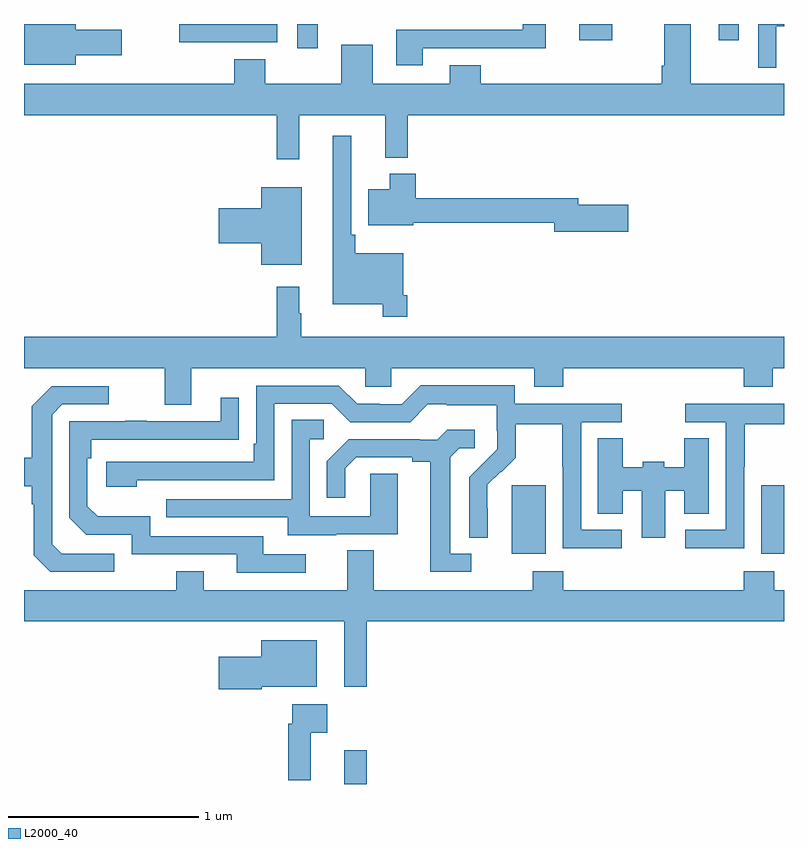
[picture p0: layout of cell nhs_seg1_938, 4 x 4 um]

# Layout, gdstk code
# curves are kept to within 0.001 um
import gdstk
lib = gdstk.Library(unit=1e-6, precision=1e-09)
def R(c, l, rs):  # rectangles x0, y0, x1, y1
    for r in rs: c.add(gdstk.rectangle(r[:2], r[2:], *l))
def P(c, l, *ps):  # polygons
    for p in ps: c.add(gdstk.Polygon(p, *l))
L2000_40 = (2000, 40)

nhs_seg1_938 = lib.new_cell('nhs_seg1_938')
R(nhs_seg1_938, L2000_40, [(162.686,560.199,162.803,560.377), (163.568,561.41,163.747,561.771), (164.879,561.41,165,561.771), (162.437,564.072,162.546,564.199), (161.817,564.102,162.333,564.199), (163.923,564.114,164.095,564.199), (164.657,564.114,164.761,564.199)])
P(nhs_seg1_938, L2000_40, [(164.958,564.186),(165,564.186),(165,564.199),(164.865,564.199),(164.865,563.969),(164.958,563.969)],
  [(163.099,564.072),(163.529,564.072),(163.529,564.071),(163.747,564.071),(163.747,564.199),(163.626,564.199),(163.626,564.168),(162.959,564.168),(162.959,563.982),(163.099,563.982)],
  [(161.272,564.035),(161.515,564.035),(161.515,564.17),(161.272,564.17),(161.272,564.199),(161,564.199),(161,563.984),(161.272,563.984)],
  [(162.449,563.72),(162.902,563.72),(162.902,563.495),(163.019,563.495),(163.019,563.72),(165,563.72),(165,563.884),(164.509,563.884),(164.509,564.199),(164.369,564.199),(164.369,563.98),(164.357,563.98),(164.357,563.884),(163.405,563.884),(163.405,563.983),(163.241,563.983),(163.241,563.884),(162.835,563.884),(162.835,564.091),(162.671,564.091),(162.671,563.884),(162.271,563.884),(162.271,564.013),(162.107,564.013),(162.107,563.884),(161,563.884),(161,563.72),(162.331,563.72),(162.331,563.487),(162.449,563.487)],
  [(163.016,562.771),(162.996,562.771),(162.996,562.993),(162.743,562.993),(162.743,563.089),(162.723,563.089),(162.723,563.611),(162.626,563.611),(162.626,562.724),(162.888,562.724),(162.888,562.659),(163.016,562.659)],
  [(164.179,563.247),(163.918,563.247),(163.918,563.281),(163.061,563.281),(163.061,563.41),(162.926,563.41),(162.926,563.329),(162.812,563.329),(162.812,563.141),(163.048,563.141),(163.048,563.152),(163.79,563.152),(163.79,563.105),(164.179,563.105)],
  [(162.463,563.341),(162.248,563.341),(162.248,563.228),(162.024,563.228),(162.024,563.045),(162.248,563.045),(162.248,562.931),(162.463,562.931)],
  [(161.881,562.388),(162.795,562.388),(162.795,562.29),(162.933,562.29),(162.933,562.388),(163.685,562.388),(163.685,562.289),(163.838,562.289),(163.838,562.388),(164.789,562.388),(164.789,562.289),(164.941,562.289),(164.941,562.388),(165,562.388),(165,562.552),(162.46,562.552),(162.46,562.676),(162.448,562.676),(162.448,562.816),(162.331,562.816),(162.331,562.552),(161,562.552),(161,562.388),(161.741,562.388),(161.741,562.194),(161.881,562.194)],
  [(164.146,561.537),(163.932,561.537),(163.932,562.104),(164.146,562.104),(164.146,562.2),(163.584,562.2),(163.584,562.297),(163.087,562.297),(162.987,562.197),(162.872,562.197),(162.872,562.2),(162.753,562.2),(162.657,562.296),(162.222,562.296),(162.222,561.991),(162.209,561.991),(162.209,561.894),(161.433,561.894),(161.433,561.764),(161.594,561.764),(161.594,561.798),(162.318,561.798),(162.318,562.2),(162.621,562.2),(162.717,562.104),(163.032,562.104),(163.125,562.197),(163.225,562.197),(163.225,562.193),(163.488,562.193),(163.488,562.059),(163.49,562.059),(163.49,561.962),(163.344,561.814),(163.344,561.496),(163.44,561.496),(163.439,561.773),(163.509,561.843),(163.512,561.84),(163.589,561.917),(163.589,562.092),(163.834,562.092),(163.834,561.868),(163.836,561.868),(163.836,561.439),(164.146,561.439)],
  [(161.476,561.411),(161.199,561.411),(161.148,561.462),(161.148,562.143),(161.202,562.197),(161.446,562.197),(161.446,562.293),(161.145,562.293),(161.04,562.187),(161.04,561.915),(161,561.915),(161,561.767),(161.04,561.767),(161.04,561.671),(161.052,561.671),(161.052,561.402),(161.139,561.315),(161.476,561.315)],
  [(162.484,561.408),(162.259,561.408),(162.259,561.504),(161.664,561.504),(161.664,561.607),(161.387,561.607),(161.334,561.66),(161.334,561.914),(161.354,561.914),(161.354,562.011),(162.131,562.012),(162.131,562.231),(162.035,562.231),(162.035,562.107),(161.645,562.107),(161.645,562.112),(161.533,562.112),(161.533,562.107),(161.238,562.107),(161.238,561.6),(161.328,561.51),(161.568,561.51),(161.568,561.408),(162.119,561.408),(162.119,561.312),(162.484,561.312)],
  [(164.79,561.868),(164.793,561.868),(164.793,562.092),(165,562.092),(165,562.2),(164.481,562.2),(164.481,562.104),(164.694,562.104),(164.694,561.537),(164.481,561.537),(164.481,561.439),(164.79,561.439)],
  [(162.643,561.513),(162.967,561.513),(162.967,561.833),(162.822,561.833),(162.822,561.609),(162.504,561.609),(162.504,562.014),(162.577,562.014),(162.577,562.115),(162.408,562.115),(162.408,561.699),(161.749,561.699),(161.749,561.603),(162.389,561.603),(162.389,561.509),(162.643,561.509)],
  [(163.354,561.411),(163.243,561.411),(163.243,561.919),(163.29,561.966),(163.372,561.966),(163.372,562.063),(163.228,562.063),(163.176,562.011),(163.082,562.011),(163.082,562.014),(162.71,562.014),(162.594,561.898),(162.594,561.705),(162.691,561.705),(162.691,561.861),(162.748,561.918),(163.043,561.918),(163.043,561.896),(163.139,561.896),(163.139,561.315),(163.354,561.315)],
  [(164.374,561.743),(164.474,561.743),(164.474,561.622),(164.605,561.622),(164.605,562.019),(164.474,562.019),(164.474,561.865),(164.37,561.865),(164.37,561.896),(164.256,561.896),(164.256,561.865),(164.152,561.865),(164.152,562.019),(164.021,562.019),(164.021,561.622),(164.152,561.622),(164.152,561.743),(164.252,561.743),(164.252,561.495),(164.374,561.495)],
  [(165,561.22),(164.949,561.22),(164.949,561.319),(164.789,561.319),(164.789,561.22),(163.838,561.22),(163.838,561.319),(163.678,561.319),(163.678,561.22),(162.841,561.22),(162.841,561.428),(162.701,561.428),(162.701,561.22),(161.947,561.22),(161.947,561.319),(161.8,561.319),(161.8,561.22),(161,561.22),(161,561.056),(162.686,561.056),(162.686,560.712),(162.803,560.712),(162.803,561.056),(165,561.056)],
  [(162.252,560.711),(162.541,560.711),(162.541,560.956),(162.248,560.956),(162.248,560.869),(162.024,560.869),(162.024,560.699),(162.252,560.699)],
  [(162.509,560.468),(162.595,560.468),(162.595,560.62),(162.411,560.62),(162.411,560.516),(162.391,560.516),(162.391,560.22),(162.509,560.22)])

lib.write_gds('nhs_seg1_938.gds')
